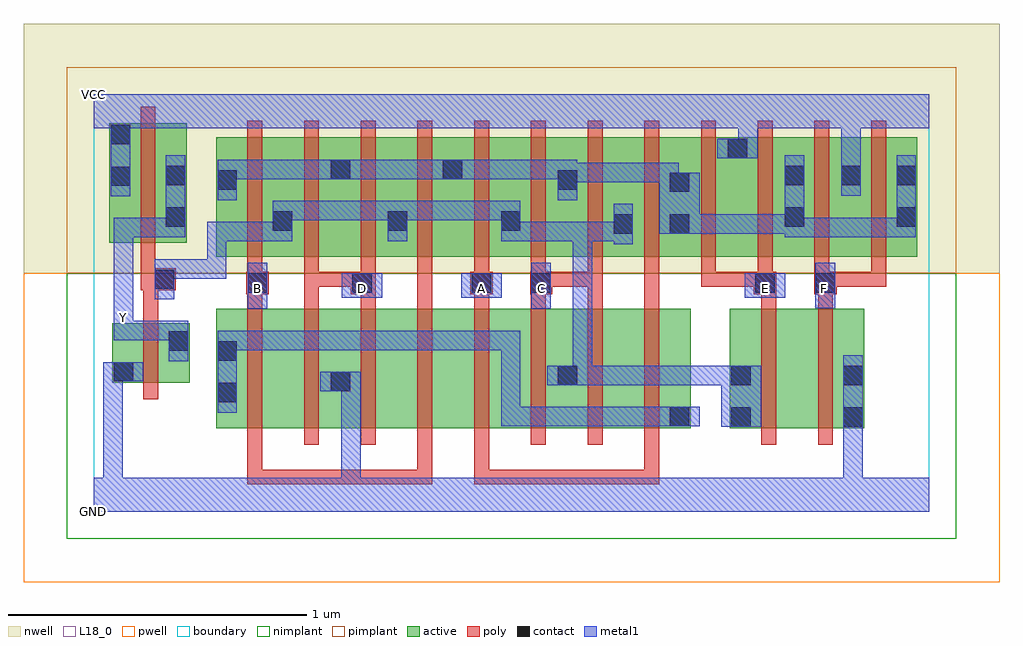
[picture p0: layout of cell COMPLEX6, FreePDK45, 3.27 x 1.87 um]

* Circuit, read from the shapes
.subckt COMPLEX6 A B C D E F GND VCC Y
M1 Y n1 GND VSUBS nfet w=0.2u l=0.05u
M2 n2 B n3 VSUBS nfet w=0.4u l=0.05u
M3 GND D n2 VSUBS nfet w=0.4u l=0.05u
M4 n4 D GND VSUBS nfet w=0.4u l=0.05u
M5 n5 B n4 VSUBS nfet w=0.4u l=0.05u
M6 n6 A n5 VSUBS nfet w=0.4u l=0.05u
M7 n1 C n6 VSUBS nfet w=0.4u l=0.05u
M8 n7 C n1 VSUBS nfet w=0.4u l=0.05u
M9 n3 A n7 VSUBS nfet w=0.4u l=0.05u
M10 n8 E n1 VSUBS nfet w=0.4u l=0.05u
M11 GND F n8 VSUBS nfet w=0.4u l=0.05u
M12 Y n1 VCC n9 pfet w=0.4u l=0.05u
M13 n1 B n10 n9 pfet w=0.4u l=0.05u m=2
M14 n10 D n1 n9 pfet w=0.4u l=0.05u m=2
M15 n1 A n10 n9 pfet w=0.4u l=0.05u m=2
M16 n10 C n1 n9 pfet w=0.4u l=0.05u m=2
M17 VCC E n10 n9 pfet w=0.4u l=0.05u m=2
M18 VCC F n10 n9 pfet w=0.4u l=0.05u m=2
.ends

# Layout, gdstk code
import gdstk
lib = gdstk.Library(unit=1e-6, precision=1e-09)
def R(c, l, rs):  # rectangles x0, y0, x1, y1
    for r in rs: c.add(gdstk.rectangle(r[:2], r[2:], *l))
def A(c, l, x, y, w, h, nx, ny, dx, dy):  # array of equal rectangles
    R(c, l, [(x+i*dx, y+j*dy, x+i*dx+w, y+j*dy+h) for i in range(nx) for j in range(ny)])
active = (1, 0)
pwell = (2, 0)
nwell = (3, 0)
nimplant = (4, 0)
pimplant = (5, 0)
poly = (9, 0)
contact = (10, 0)
metal1 = (11, 0)
L18_0 = (18, 0)
boundary = (235, 0)

complex6 = lib.new_cell('COMPLEX6')
R(complex6, active, [(0.41,0.28,0.485,0.68), (0.41,0.28,0.635,0.68), (0.635,0.28,0.865,0.68), (0.79,0.28,1.015,0.68), (1.015,0.28,1.205,0.68), (1.205,0.28,1.395,0.68), (1.395,0.28,1.625,0.68), (1.55,0.28,1.775,0.68), (1.775,0.28,2,0.68), (1.925,0.28,2,0.68), (2.132,0.28,2.207,0.68), (2.132,0.28,2.357,0.68), (2.357,0.28,2.582,0.68), (2.507,0.28,2.582,0.68), (1.55,0.33,1.625,0.617), (0.79,0.332,0.865,0.617), (0.062,0.432,0.322,0.632), (0.062,0.432,0.137,0.632), (0.247,0.532,0.322,0.632), (0.41,0.855,0.485,1.2), (0.41,0.855,0.67,1.255), (0.595,0.855,0.865,1.255), (0.79,0.855,1.055,1.255), (0.98,0.855,1.24,1.255), (1.165,0.855,1.435,1.255), (1.36,0.855,1.625,1.255), (1.55,0.855,1.812,1.255), (1.737,0.855,2,1.255), (1.925,0.855,2.195,1.255), (2.12,0.855,2.385,1.255), (2.31,0.855,2.575,1.255), (2.5,0.855,2.76,1.255), (2.685,0.855,2.76,1.2), (0.052,0.902,0.127,1.302), (0.052,0.902,0.312,1.302), (0.237,0.902,0.312,1.2), (0.595,0.907,0.67,1.07), (0.79,0.907,0.865,1.2), (0.98,0.907,1.055,1.07), (1.165,0.907,1.24,1.2), (1.36,0.907,1.435,1.07), (1.55,0.907,1.625,1.2), (1.737,0.907,1.812,1.07), (1.925,0.907,2,1.2), (2.12,0.907,2.195,1.255), (2.31,0.907,2.385,1.2), (2.5,0.907,2.575,1.255)])
R(complex6, pwell, [(-0.235,-0.235,3.035,0.8)])
R(complex6, nwell, [(-0.235,0.8,3.035,1.635)])
R(complex6, nimplant, [(-0.09,-0.09,2.89,0.8)])
R(complex6, pimplant, [(-0.09,0.8,2.89,1.49)])
A(complex6, poly, 0.515, 0.225, 0.05, 0.51, 8, 1, 0.19, 0)
A(complex6, poly, 0.515, 0.685, 0.05, 0.095, 3, 1, 0.38, 0)
A(complex6, poly, 0.515, 0.755, 0.05, 0.095, 7, 1, 0.19, 0)
A(complex6, poly, 2.035, 0.755, 0.05, 0.095, 4, 1, 0.19, 0)
A(complex6, poly, 0.515, 0.8, 0.05, 0.51, 12, 1, 0.19, 0)
R(complex6, poly, [(0.515,0.092,0.565,0.142), (0.515,0.092,0.565,0.275), (0.515,0.092,0.78,0.142), (0.73,0.092,0.78,0.142), (0.73,0.092,0.78,0.142), (0.73,0.092,0.78,0.142), (0.73,0.092,1.002,0.142), (0.952,0.092,1.002,0.142), (0.952,0.092,1.002,0.142), (0.952,0.092,1.002,0.142), (0.952,0.092,1.135,0.142), (1.085,0.092,1.135,0.142), (1.085,0.092,1.135,0.142), (1.085,0.092,1.135,0.142), (1.085,0.092,1.135,0.275), (1.275,0.092,1.325,0.142), (1.275,0.092,1.325,0.275), (1.275,0.092,1.517,0.142), (1.467,0.092,1.517,0.142), (1.467,0.092,1.517,0.142), (1.467,0.092,1.517,0.142), (1.467,0.092,1.67,0.142), (1.62,0.092,1.67,0.142), (1.62,0.092,1.67,0.142), (1.62,0.092,1.67,0.142), (1.62,0.092,1.895,0.142), (1.845,0.092,1.895,0.142), (1.845,0.092,1.895,0.142), (1.845,0.092,1.895,0.142), (1.845,0.092,1.895,0.275), (2.237,0.225,2.287,0.735), (2.427,0.225,2.477,0.735), (0.167,0.377,0.217,0.687), (0.167,0.637,0.217,0.792), (0.705,0.685,0.755,0.805), (1.085,0.685,1.135,0.805), (1.465,0.685,1.515,0.78), (1.655,0.685,1.705,0.805), (1.845,0.685,1.895,0.78), (2.237,0.685,2.287,0.78), (2.427,0.685,2.477,0.78), (0.512,0.73,0.587,0.805), (0.862,0.73,0.945,0.805), (1.262,0.73,1.337,0.805), (1.462,0.73,1.537,0.805), (1.845,0.73,1.895,0.78), (1.845,0.73,1.895,0.85), (2.212,0.73,2.287,0.805), (2.415,0.73,2.49,0.805), (0.157,0.742,0.275,0.817), (0.705,0.755,0.755,0.805), (0.705,0.755,0.912,0.805), (0.862,0.755,0.912,0.805), (0.862,0.755,0.912,0.805), (1.085,0.755,1.135,0.805), (1.487,0.755,1.705,0.805), (1.655,0.755,1.705,0.805), (1.655,0.755,1.705,0.805), (1.655,0.755,1.705,0.805), (2.035,0.755,2.085,0.805), (2.035,0.755,2.085,0.805), (2.035,0.755,2.085,0.805), (2.035,0.755,2.262,0.805), (2.44,0.755,2.655,0.805), (2.44,0.755,2.49,0.805), (2.44,0.755,2.49,0.805), (2.605,0.755,2.655,0.805), (0.157,0.767,0.207,0.897), (0.157,0.847,0.207,1.357)])
R(complex6, contact, [(2.137,0.285,2.202,0.35), (2.512,0.285,2.577,0.35), (1.93,0.287,1.995,0.352), (0.415,0.367,0.48,0.432), (0.795,0.405,0.86,0.47), (1.555,0.425,1.62,0.49), (2.137,0.425,2.202,0.49), (2.512,0.425,2.577,0.49), (0.067,0.437,0.132,0.502), (0.415,0.507,0.48,0.572), (0.252,0.54,0.317,0.605), (0.517,0.735,0.582,0.8), (0.867,0.735,0.932,0.8), (1.267,0.735,1.332,0.8), (1.467,0.735,1.532,0.8), (2.217,0.735,2.282,0.8), (2.42,0.735,2.485,0.8), (0.205,0.747,0.27,0.812), (1.742,0.932,1.807,0.997), (1.93,0.932,1.995,0.997), (0.6,0.942,0.665,1.007), (0.985,0.942,1.05,1.007), (1.365,0.942,1.43,1.007), (0.242,0.955,0.307,1.02), (2.315,0.955,2.38,1.02), (2.69,0.955,2.755,1.02), (1.93,1.072,1.995,1.137), (0.415,1.08,0.48,1.145), (1.555,1.08,1.62,1.145), (0.057,1.092,0.122,1.157), (0.242,1.095,0.307,1.16), (2.315,1.095,2.38,1.16), (2.505,1.095,2.57,1.16), (2.69,1.095,2.755,1.16), (0.795,1.115,0.86,1.18), (1.17,1.115,1.235,1.18), (2.125,1.185,2.19,1.25), (0.057,1.232,0.122,1.297)])
R(complex6, metal1, [(0,0,2.8,0.115), (0.032,0.05,0.097,0.115), (0.032,0.05,0.097,0.115), (0.032,0.05,0.097,0.115), (0.032,0.05,0.097,0.115), (0.032,0.05,0.097,0.115), (0.032,0.05,0.097,0.115), (0.032,0.05,0.097,0.115), (0.032,0.05,0.097,0.115), (0.032,0.05,0.097,0.502), (0.83,0.05,0.895,0.47), (2.512,0.05,2.577,0.315), (2.512,0.25,2.577,0.315), (2.512,0.25,2.577,0.315), (2.512,0.25,2.577,0.315), (2.512,0.25,2.577,0.315), (2.512,0.25,2.577,0.525), (2.102,0.285,2.237,0.49), (1.365,0.287,1.43,0.352), (1.365,0.287,1.43,0.352), (1.365,0.287,1.43,0.352), (1.365,0.287,1.585,0.352), (1.365,0.287,1.43,0.607), (1.52,0.287,1.585,0.352), (1.52,0.287,1.807,0.352), (1.742,0.287,1.807,0.352), (1.742,0.287,1.807,0.352), (1.742,0.287,1.807,0.352), (1.742,0.287,1.96,0.352), (1.895,0.287,1.96,0.352), (1.895,0.287,1.96,0.352), (1.895,0.287,2.03,0.352), (0.415,0.332,0.48,0.607), (0.76,0.405,0.895,0.47), (0.83,0.405,0.895,0.47), (0.83,0.405,0.895,0.47), (0.83,0.405,0.895,0.47), (0.83,0.405,0.895,0.47), (1.52,0.425,1.67,0.49), (1.605,0.425,1.807,0.49), (1.605,0.425,1.67,0.972), (1.742,0.425,1.807,0.49), (1.742,0.425,1.807,0.49), (1.742,0.425,1.807,0.49), (1.742,0.425,1.96,0.49), (1.895,0.425,1.96,0.49), (1.895,0.425,1.96,0.49), (1.895,0.425,1.96,0.49), (1.895,0.425,2.097,0.49), (2.032,0.425,2.097,0.49), (2.032,0.425,2.167,0.49), (0.032,0.437,0.167,0.502), (0.252,0.505,0.317,0.64), (0.415,0.542,0.48,0.607), (0.415,0.542,0.48,0.607), (0.415,0.542,0.687,0.607), (0.622,0.542,0.687,0.607), (0.622,0.542,0.687,0.607), (0.622,0.542,0.687,0.607), (0.622,0.542,0.825,0.607), (0.76,0.542,0.825,0.607), (0.76,0.542,0.825,0.607), (0.76,0.542,0.825,0.607), (0.76,0.542,1.05,0.607), (0.985,0.542,1.05,0.607), (0.985,0.542,1.05,0.607), (0.985,0.542,1.05,0.607), (0.985,0.542,1.187,0.607), (1.122,0.542,1.187,0.607), (1.122,0.542,1.187,0.607), (1.122,0.542,1.187,0.607), (1.122,0.542,1.43,0.607), (1.365,0.542,1.43,0.607), (0.067,0.575,0.132,0.64), (0.067,0.575,0.132,0.64), (0.067,0.575,0.132,0.64), (0.067,0.575,0.317,0.64), (0.067,0.575,0.132,0.647), (0.067,0.582,0.132,0.717), (0.067,0.652,0.132,0.985), (0.517,0.68,0.582,0.835), (1.467,0.68,1.532,0.835), (2.417,0.682,2.485,0.835), (0.205,0.712,0.27,0.847), (0.832,0.717,0.967,0.8), (1.232,0.717,1.367,0.8), (2.182,0.717,2.317,0.8), (0.205,0.782,0.27,0.847), (0.205,0.782,0.27,0.847), (0.205,0.782,0.445,0.847), (0.38,0.782,0.445,0.847), (0.38,0.782,0.445,0.972), (1.742,0.897,1.807,1.032), (0.38,0.907,0.445,0.972), (0.38,0.907,0.455,0.972), (0.39,0.907,0.455,0.972), (0.39,0.907,0.665,0.972), (0.6,0.907,0.665,1.042), (0.985,0.907,1.05,1.042), (1.365,0.907,1.43,0.972), (1.365,0.907,1.43,0.972), (1.365,0.907,1.43,1.042), (1.365,0.907,1.67,0.972), (1.605,0.907,1.67,0.972), (1.605,0.907,1.67,0.972), (1.605,0.907,1.67,0.972), (1.605,0.907,1.67,0.972), (1.605,0.907,1.67,0.972), (1.605,0.907,1.807,0.972), (0.067,0.92,0.132,0.985), (0.067,0.92,0.307,0.985), (0.242,0.92,0.307,0.985), (0.242,0.92,0.307,0.985), (0.242,0.92,0.307,1.195), (2.315,0.92,2.38,1.195), (2.315,0.92,2.517,0.985), (2.452,0.92,2.517,0.985), (2.452,0.92,2.517,0.985), (2.452,0.92,2.517,0.985), (2.452,0.92,2.755,0.985), (2.69,0.92,2.755,0.985), (2.69,0.92,2.755,0.985), (2.69,0.92,2.755,1.195), (1.895,0.932,2.03,1.137), (1.952,0.932,2.017,0.997), (1.952,0.932,2.017,0.997), (1.952,0.932,2.097,0.997), (2.032,0.932,2.097,0.997), (2.032,0.932,2.235,0.997), (2.17,0.932,2.235,0.997), (2.17,0.932,2.235,0.997), (2.17,0.932,2.235,0.997), (2.17,0.932,2.38,0.997), (0.6,0.977,0.665,1.042), (0.6,0.977,0.665,1.042), (0.6,0.977,0.912,1.042), (0.847,0.977,0.912,1.042), (0.847,0.977,0.912,1.042), (0.847,0.977,0.912,1.042), (0.847,0.977,1.05,1.042), (0.985,0.977,1.05,1.042), (0.985,0.977,1.05,1.042), (0.985,0.977,1.292,1.042), (1.227,0.977,1.292,1.042), (1.227,0.977,1.292,1.042), (1.227,0.977,1.292,1.042), (1.227,0.977,1.43,1.042), (0.415,1.045,0.48,1.18), (1.555,1.045,1.62,1.18), (0.057,1.057,0.122,1.332), (2.505,1.06,2.57,1.195), (1.895,1.072,1.96,1.137), (1.895,1.072,1.96,1.17), (1.555,1.105,1.807,1.17), (1.742,1.105,1.807,1.17), (1.742,1.105,1.807,1.17), (1.742,1.105,1.807,1.17), (1.742,1.105,1.96,1.17), (0.415,1.115,0.48,1.18), (0.415,1.115,0.48,1.18), (0.415,1.115,0.617,1.18), (0.552,1.115,0.617,1.18), (0.552,1.115,0.617,1.18), (0.552,1.115,0.617,1.18), (0.552,1.115,0.825,1.18), (0.76,1.115,0.895,1.18), (0.83,1.115,0.895,1.18), (0.83,1.115,0.895,1.18), (0.83,1.115,1.05,1.18), (0.985,1.115,1.05,1.18), (0.985,1.115,1.05,1.18), (0.985,1.115,1.05,1.18), (0.985,1.115,1.2,1.18), (1.135,1.115,1.27,1.18), (1.205,1.115,1.27,1.18), (1.205,1.115,1.27,1.18), (1.205,1.115,1.447,1.18), (1.382,1.115,1.447,1.18), (1.382,1.115,1.447,1.18), (1.382,1.115,1.447,1.18), (1.382,1.115,1.62,1.18), (2.505,1.13,2.57,1.35), (2.09,1.185,2.225,1.25), (2.16,1.185,2.225,1.35), (0.057,1.267,0.122,1.35), (0,1.285,2.8,1.4)])
R(complex6, L18_0, [(0,0,2.8,0.115), (0.032,0.05,0.097,0.115), (0.032,0.05,0.097,0.115), (0.032,0.05,0.097,0.115), (0.032,0.05,0.097,0.115), (0.032,0.05,0.097,0.115), (0.032,0.05,0.097,0.115), (0.032,0.05,0.097,0.115), (0.032,0.05,0.097,0.115), (0.032,0.05,0.097,0.502), (0.83,0.05,0.895,0.47), (2.512,0.05,2.577,0.315), (2.512,0.25,2.577,0.315), (2.512,0.25,2.577,0.315), (2.512,0.25,2.577,0.315), (2.512,0.25,2.577,0.315), (2.512,0.25,2.577,0.525), (0.76,0.405,0.895,0.47), (0.83,0.405,0.895,0.47), (0.83,0.405,0.895,0.47), (0.83,0.405,0.895,0.47), (0.83,0.405,0.895,0.47), (0.032,0.437,0.167,0.502), (0.252,0.505,0.317,0.64), (0.067,0.575,0.132,0.64), (0.067,0.575,0.132,0.64), (0.067,0.575,0.132,0.64), (0.067,0.575,0.132,0.647), (0.067,0.575,0.317,0.64), (0.067,0.582,0.132,0.717), (0.067,0.617,0.132,0.682), (0.067,0.652,0.132,0.985), (0.517,0.68,0.582,0.835), (1.467,0.68,1.532,0.835), (2.417,0.682,2.485,0.835), (0.517,0.717,0.582,0.782), (0.832,0.717,0.967,0.8), (0.867,0.717,0.932,0.782), (1.232,0.717,1.367,0.8), (1.267,0.717,1.332,0.782), (1.467,0.717,1.532,0.782), (2.182,0.717,2.317,0.8), (2.217,0.717,2.282,0.782), (2.417,0.717,2.482,0.782), (0.067,0.92,0.132,0.985), (0.067,0.92,0.307,0.985), (0.242,0.92,0.307,0.985), (0.242,0.92,0.307,0.985), (0.242,0.92,0.307,1.195), (0.057,1.057,0.122,1.332), (2.505,1.06,2.57,1.195), (2.505,1.13,2.57,1.35), (2.09,1.185,2.225,1.25), (2.16,1.185,2.225,1.35), (0.057,1.267,0.122,1.35), (0,1.285,2.8,1.4)])
R(complex6, boundary, [(0,0,2.8,1.4)])
complex6.add(gdstk.Label('A', (1.3,0.75), layer=11, texttype=0))
complex6.add(gdstk.Label('B', (0.55,0.75), layer=11, texttype=0))
complex6.add(gdstk.Label('C', (1.5,0.75), layer=11, texttype=0))
complex6.add(gdstk.Label('D', (0.9,0.75), layer=11, texttype=0))
complex6.add(gdstk.Label('E', (2.25,0.75), layer=11, texttype=0))
complex6.add(gdstk.Label('F', (2.45,0.75), layer=11, texttype=0))
complex6.add(gdstk.Label('Y', (0.1,0.65), layer=11, texttype=0))
complex6.add(gdstk.Label('VCC', (0,1.4), layer=11, texttype=0))
complex6.add(gdstk.Label('GND', (0,0), layer=11, texttype=0))

lib.write_gds('COMPLEX6.gds')
